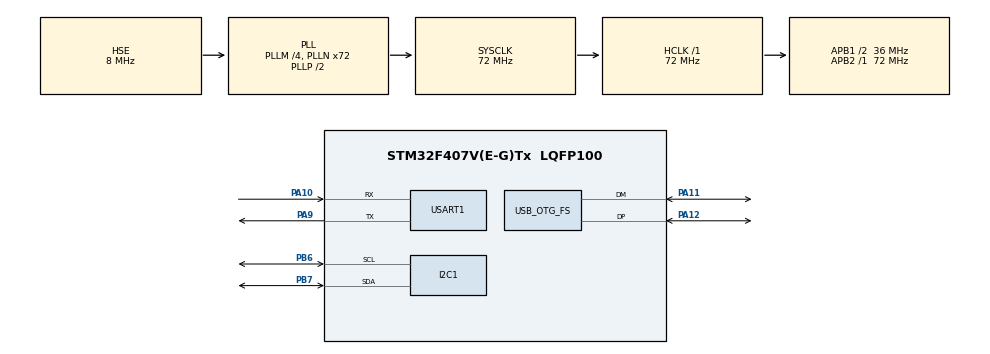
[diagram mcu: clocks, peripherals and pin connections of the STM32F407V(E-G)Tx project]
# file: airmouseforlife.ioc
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Mcu.Family=STM32F4
Mcu.Name=STM32F407V(E-G)Tx
Mcu.Package=LQFP100
NVIC.OTG_FS_IRQn=true\:0\:0\:false\:false\:true\:false\:true\:true
NVIC.PriorityGroup=NVIC_PRIORITYGROUP_4
PA10.Mode=Asynchronous
PA10.Signal=USART1_RX
PA11.Mode=Device_Only
PA11.Signal=USB_OTG_FS_DM
PA12.Mode=Device_Only
PA12.Signal=USB_OTG_FS_DP
PA9.Mode=Asynchronous
PA9.Signal=USART1_TX
PB6.Mode=I2C
PB6.Signal=I2C1_SCL
PB7.Mode=I2C
PB7.Signal=I2C1_SDA
PH0-OSC_IN.Mode=HSE-External-Oscillator
PH0-OSC_IN.Signal=RCC_OSC_IN
PH1-OSC_OUT.Mode=HSE-External-Oscillator
PH1-OSC_OUT.Signal=RCC_OSC_OUT
ProjectManager.HeapSize=0x200
ProjectManager.StackSize=0x400
ProjectManager.TargetToolchain=STM32CubeIDE
RCC.48MHZClocksFreq_Value=48000000
RCC.AHBFreq_Value=72000000
RCC.APB1CLKDivider=RCC_HCLK_DIV2
RCC.APB1Freq_Value=36000000
RCC.APB1TimFreq_Value=72000000
RCC.APB2Freq_Value=72000000
RCC.APB2TimFreq_Value=72000000
RCC.CortexFreq_Value=72000000
RCC.HCLKFreq_Value=72000000
RCC.HSE_VALUE=8000000
RCC.HSI_VALUE=16000000
RCC.LSE_VALUE=32768
RCC.PLLM=4
RCC.PLLN=72
RCC.PLLQ=3
RCC.PWREXT_OverDrive=PWREXT_OverDrive_ACTIVATED
RCC.SYSCLKFreq_VALUE=72000000
RCC.SYSCLKSource=RCC_SYSCLKSOURCE_PLLCLK
RCC.VCOOutputFreq_Value=144000000
USART1.VirtualMode=VM_ASYNC
USB_DEVICE.CLASS_NAME_FS=HID
USB_DEVICE.PRODUCT_STRING_HID_FS=STM32F429TLV
USB_DEVICE.VirtualMode-HID_FS=Hid
USB_DEVICE.VirtualModeFS=Hid_FS
USB_OTG_FS.VirtualMode=Device_Only
VP_USB_DEVICE_VS_USB_DEVICE_HID_FS.Mode=HID_FS
board=custom

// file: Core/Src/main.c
/* USER CODE BEGIN Header */
/**
  ******************************************************************************
  * @file           : main.c
  * @brief          : Main program body
  ******************************************************************************
  * @attention
  *
  * Copyright (c) 2025 STMicroelectronics.
  * All rights reserved.
  *
  * This software is licensed under terms that can be found in the LICENSE file
  * in the root directory of this software component.
  * If no LICENSE file comes with this software, it is provided AS-IS.
  *
  ******************************************************************************
  */
/* USER CODE END Header */
#include "main.h"
#include "mpu6050.h"
#include "stdio.h"
#include "string.h"
#include "math.h"
#include <stdlib.h>
#include "stm32f4xx_hal_uart.h"
#include "usb_device.h"
#include "usbd_hid.h"
#include "i2c.h"

/* USER CODE BEGIN PTD */
MPU6050_t MPU6050;
//uint8_t HID_Buffer[3];
const int sensitivity = 10;

/* USER CODE END PTD */

//I2C_HandleTypeDef hi2c1;

UART_HandleTypeDef huart1;
extern USBD_HandleTypeDef hUsbDeviceFS;

void SystemClock_Config(void);
static void MX_GPIO_Init(void);
static void MX_USART1_UART_Init(void);

/* USER CODE BEGIN 0 */
void SendDataOverUART(MPU6050_t *MPU6050)
{
    // Send data in CSV format
    char buffer[200];  // Increased buffer size

    // Format: time,Ax,Ay,Az,Gx,Gy,Gz,Temp
    sprintf(
        buffer,
        "x:%d.%02d, y:%d.%02d, z:%d.%02d\r\n",
        (int)MPU6050->Ax, abs((int)(MPU6050->Ax * 100) % 100),
        (int)MPU6050->Ay, abs((int)(MPU6050->Ay * 100) % 100),
        (int)MPU6050->Az, abs((int)(MPU6050->Az * 100) % 100)
//        (int)MPU6050->Gx, abs((int)(MPU6050->Gx * 100) % 100),
//        (int)MPU6050->Gy, abs((int)(MPU6050->Gy * 100) % 100),
//        (int)MPU6050->Gz, abs((int)(MPU6050->Gz * 100) % 100),
//        (int)MPU6050->Temperature, abs((int)(MPU6050->Temperature * 100) % 100)
    );

    // Send the data over UART
    HAL_GPIO_TogglePin(GPIOG, GPIO_PIN_14);
    HAL_UART_Transmit(&huart1, (uint8_t *)buffer, strlen(buffer), HAL_MAX_DELAY);
}

void Scan_I2C_Addresses(void)
{
    uint8_t i;
    uint8_t ret;
    char buffer[50];

    sprintf(buffer, "Scanning I2C addresses...\r\n");
    HAL_UART_Transmit(&huart1, (uint8_t*)buffer, strlen(buffer), HAL_MAX_DELAY);

    for(i = 1; i < 128; i++)
    {
        ret = HAL_I2C_IsDeviceReady(&hi2c1, (i << 1), 2, 100);

        if(ret == HAL_OK)
        {
            sprintf(buffer, "I2C device found at address: 0x%02X\r\n", i);
            HAL_UART_Transmit(&huart1, (uint8_t*)buffer, strlen(buffer), HAL_MAX_DELAY);
            HAL_GPIO_WritePin(GPIOG, GPIO_PIN_13,GPIO_PIN_SET);
        }
    }

    sprintf(buffer, "I2C scan completed\r\n");
    HAL_UART_Transmit(&huart1, (uint8_t*)buffer, strlen(buffer), HAL_MAX_DELAY);
}
/* USER CODE END 0 */

int main(void)
{

  /* MCU Configuration--------------------------------------------------------*/

  /* Reset of all peripherals, Initializes the Flash interface and the Systick. */
  HAL_Init();

  /* Configure the system clock */
  SystemClock_Config();

  /* Initialize all configured peripherals */
  MX_GPIO_Init();
  MX_I2C1_Init();
  MX_USART1_UART_Init();
  MX_USB_DEVICE_Init();

  Scan_I2C_Addresses();

  uint8_t buffer[100] = "Starting MPU6050...\r\n";
  HAL_UART_Transmit(&huart1, buffer, strlen(buffer), 10);

  /* USER CODE BEGIN 2 */
  uint8_t init_attempts = 0;

 while(MPU6050_Init(&hi2c1) == 1) {
   init_attempts++;
//   HAL_GPIO_TogglePin(GPIOD, GPIO_PIN_12);
    HAL_UART_Transmit(&huart1, (uint8_t *)"MPU6050 Init Failed, retrying...\r\n", 34, HAL_MAX_DELAY);
   HAL_Delay(500);
   if(init_attempts > 10) {
     HAL_UART_Transmit(&huart1, (uint8_t *)"MPU6050 Init Failed permanently!\r\n", 35, HAL_MAX_DELAY);
//     HAL_GPIO_WritePin(GPIOD, GPIO_PIN_12, GPIO_PIN_RESET);
     break;
   }
 }

 if(init_attempts <= 10) {
	 HAL_UART_Transmit(&huart1, (uint8_t *)"MPU6050 Initialized Successfully!\r\n", 36, HAL_MAX_DELAY);
//	 HAL_GPIO_WritePin(GPIOD, GPIO_PIN_12, GPIO_PIN_SET);
 }

 HAL_Delay(1000);

  /* USER CODE END 2 */

  /* Infinite loop */
  while (1)
  {
	    MPU6050_Read_All(&hi2c1, &MPU6050);
	    SendDataOverUART(&MPU6050);

	    int8_t xMove = (int8_t)(MPU6050.Ax / 1000.0f * sensitivity);
	    int8_t yMove = (int8_t)(MPU6050.Ay / 1000.0f * sensitivity);

	    // Prepare HID report
	    uint8_t HID_Buffer[3] = {0};
	    HID_Buffer[1] = xMove;
	    HID_Buffer[2] = -yMove;

	    // Send HID report
	    USBD_HID_SendReport(&hUsbDeviceFS, HID_Buffer, sizeof(HID_Buffer));
	    HAL_Delay(10);

	//    HAL_UART_Transmit(&huart1, (uint8_t *)"Hello\r\n", 7, HAL_MAX_DELAY);
	//    HAL_StatusTypeDef txStatus = HAL_UART_Transmit(&huart1, (uint8_t *)"Hello\r\n", 7, 1000);
	//    if (txStatus == HAL_OK) {
	//            HAL_Delay(10);
	//    }else    {
	//        HAL_GPIO_TogglePin(GPIOD, GPIO_PIN_13);
	//        HAL_Delay(10);

  }
  HAL_Delay(10000);
}
void SystemClock_Config(void)
{
  RCC_OscInitTypeDef RCC_OscInitStruct = {0};
  RCC_ClkInitTypeDef RCC_ClkInitStruct = {0};

  /** Configure the main internal regulator output voltage
  */
  __HAL_RCC_PWR_CLK_ENABLE();
  __HAL_PWR_VOLTAGESCALING_CONFIG(PWR_REGULATOR_VOLTAGE_SCALE1);

  /** Initializes the RCC Oscillators according to the specified parameters
  * in the RCC_OscInitTypeDef structure.
  */
  RCC_OscInitStruct.OscillatorType = RCC_OSCILLATORTYPE_HSE;
  RCC_OscInitStruct.HSEState = RCC_HSE_ON;
  RCC_OscInitStruct.PLL.PLLState = RCC_PLL_ON;
  RCC_OscInitStruct.PLL.PLLSource = RCC_PLLSOURCE_HSE;
  RCC_OscInitStruct.PLL.PLLM = 4;
  RCC_OscInitStruct.PLL.PLLN = 72;
  RCC_OscInitStruct.PLL.PLLP = RCC_PLLP_DIV2;
  RCC_OscInitStruct.PLL.PLLQ = 3;
  if (HAL_RCC_OscConfig(&RCC_OscInitStruct) != HAL_OK)
  {
    Error_Handler();
  }

  /** Activate the Over-Drive mode
  */
//  if (HAL_PWREx_EnableOverDrive() != HAL_OK)
//  {
//    Error_Handler();
//  }

  /** Initializes the CPU, AHB and APB buses clocks
  */
  RCC_ClkInitStruct.ClockType = RCC_CLOCKTYPE_HCLK|RCC_CLOCKTYPE_SYSCLK
                              |RCC_CLOCKTYPE_PCLK1|RCC_CLOCKTYPE_PCLK2;
  RCC_ClkInitStruct.SYSCLKSource = RCC_SYSCLKSOURCE_PLLCLK;
  RCC_ClkInitStruct.AHBCLKDivider = RCC_SYSCLK_DIV1;
  RCC_ClkInitStruct.APB1CLKDivider = RCC_HCLK_DIV2;
  RCC_ClkInitStruct.APB2CLKDivider = RCC_HCLK_DIV1;

  if (HAL_RCC_ClockConfig(&RCC_ClkInitStruct, FLASH_LATENCY_2) != HAL_OK)
  {
    Error_Handler();
  }
}

void MX_USART1_UART_Init(void)
{

  huart1.Instance = USART1;
  huart1.Init.BaudRate = 115200;
  huart1.Init.WordLength = UART_WORDLENGTH_8B;
  huart1.Init.StopBits = UART_STOPBITS_1;
  huart1.Init.Parity = UART_PARITY_NONE;
  huart1.Init.Mode = UART_MODE_TX_RX;
  huart1.Init.HwFlowCtl = UART_HWCONTROL_NONE;
  huart1.Init.OverSampling = UART_OVERSAMPLING_16;
  if (HAL_UART_Init(&huart1) != HAL_OK)
  {
    Error_Handler();
  }

}

static void MX_GPIO_Init(void)
{
  /* USER CODE BEGIN MX_GPIO_Init_1 */
  GPIO_InitTypeDef GPIO_InitStruct = {0};

  /* GPIO Ports Clock Enable */
  __HAL_RCC_GPIOD_CLK_ENABLE();

  // UART GPIO Configuration
  GPIO_InitStruct.Pin = GPIO_PIN_9 | GPIO_PIN_10;
  GPIO_InitStruct.Mode = GPIO_MODE_AF_PP;
  GPIO_InitStruct.Pull = GPIO_NOPULL;
  GPIO_InitStruct.Speed = GPIO_SPEED_FREQ_VERY_HIGH;
  GPIO_InitStruct.Alternate = GPIO_AF7_USART1;
  HAL_GPIO_Init(GPIOA, &GPIO_InitStruct);

  GPIO_InitStruct.Pin = GPIO_PIN_13 | GPIO_PIN_14;
  GPIO_InitStruct.Mode = GPIO_MODE_OUTPUT_PP;
  GPIO_InitStruct.Pull = GPIO_NOPULL;
  GPIO_InitStruct.Speed = GPIO_SPEED_FREQ_LOW;
  HAL_GPIO_Init(GPIOG, &GPIO_InitStruct);

//  GPIO_InitStruct.Pin = GPIO_PIN_12 | GPIO_PIN_13 | GPIO_PIN_14;
//  GPIO_InitStruct.Mode = GPIO_MODE_OUTPUT_PP;
//  GPIO_InitStruct.Pull = GPIO_NOPULL;
//  GPIO_InitStruct.Speed = GPIO_SPEED_FREQ_LOW;
//  HAL_GPIO_Init(GPIOD, &GPIO_InitStruct);

  /* USER CODE END MX_GPIO_Init_1 */

  /* GPIO Ports Clock Enable */
  __HAL_RCC_GPIOH_CLK_ENABLE();
  __HAL_RCC_GPIOA_CLK_ENABLE();
  __HAL_RCC_GPIOB_CLK_ENABLE();

  /* USER CODE BEGIN MX_GPIO_Init_2 */

  // NOTE: I2C GPIO configuration is now handled in HAL_I2C_MspInit()
  // Remove the I2C GPIO configuration from here to avoid conflicts

  /* USER CODE END MX_GPIO_Init_2 */
}

void Error_Handler(void)
{
  __disable_irq();
  while (1)
  {
  }
}
